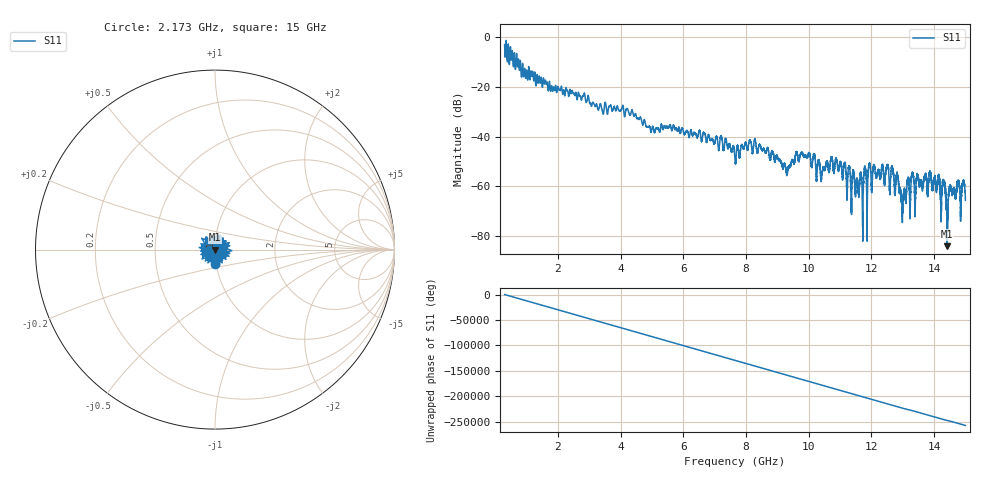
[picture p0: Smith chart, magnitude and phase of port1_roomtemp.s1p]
# GHZ S RI R 50.0
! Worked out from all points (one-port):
!   12801 points, 300 MHz to 15 GHz, reference 50 ohm
!   lowest |S11| = -84.2 dB at 14.42 GHz (marker M1), VSWR 1.00, Z = 50 - j0.00526 ohm
!   |S11| at or under -10 dB: 626.5 MHz to 665.3 MHz (38.83 MHz wide, 6.01 % of centre); 748.7 MHz to 794.2 MHz (45.54 MHz wide, 5.9 % of centre); 807 MHz to end of sweep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
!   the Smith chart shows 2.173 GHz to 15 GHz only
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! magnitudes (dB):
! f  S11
! 300 MHz  -2.9
! 969.5 MHz  -16.4
! 2.138 GHz  -22.0
! 3.407 GHz  -29.0
! 3.975 GHz  -29.6
! 5.027 GHz  -36.0
! 5.812 GHz  -37.6
! 7.401 GHz  -43.7
! 7.65 GHz  -49.3
! 8.115 GHz  -41.6
! 9.32 GHz  -54.5
! 9.488 GHz  -49.2
! 9.98 GHz  -47.5
! 10.44 GHz  -53.5
! 10.92 GHz  -51.4
! 11.32 GHz  -54.8
! 11.66 GHz  -55.5
! 11.96 GHz  -51.7
! 12.5 GHz  -52.1
! 12.85 GHz  -56.5
! 12.96 GHz  -65.6
! 13.16 GHz  -57.5
! 13.31 GHz  -55.0
! 13.89 GHz  -55.7
! 14.32 GHz  -59.5
! 14.42 GHz  -84.2
! 14.55 GHz  -61.4
! 15 GHz  -65.7
